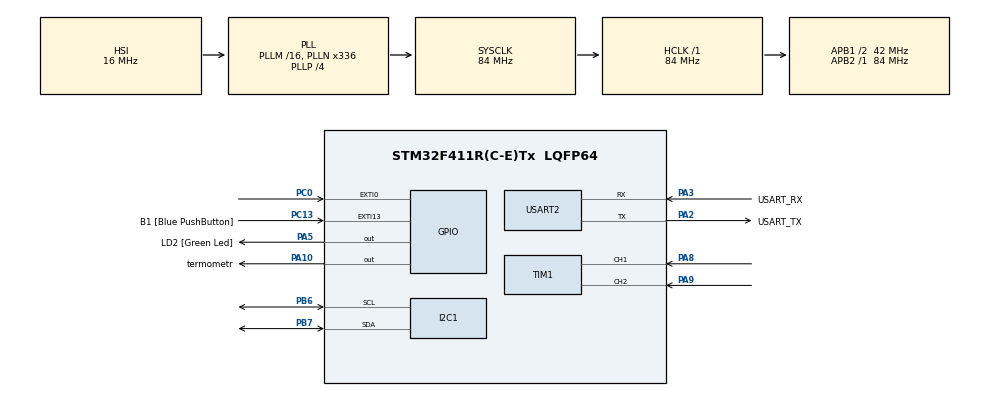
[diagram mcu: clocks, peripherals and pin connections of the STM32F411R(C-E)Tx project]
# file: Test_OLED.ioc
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Mcu.Family=STM32F4
Mcu.Name=STM32F411R(C-E)Tx
Mcu.Package=LQFP64
NVIC.EXTI0_IRQn=true\:0\:0\:false\:false\:true\:true\:true\:true
NVIC.EXTI15_10_IRQn=true\:0\:0\:false\:false\:true\:true\:true\:true
NVIC.PriorityGroup=NVIC_PRIORITYGROUP_0
PA10.GPIO_Label=termometr
PA10.GPIO_ModeDefaultOutputPP=GPIO_MODE_OUTPUT_OD
PA10.GPIO_PuPd=GPIO_NOPULL
PA10.Signal=GPIO_Output
PA13.GPIO_Label=TMS
PA13.Mode=Serial_Wire
PA13.Signal=SYS_JTMS-SWDIO
PA14.GPIO_Label=TCK
PA14.Mode=Serial_Wire
PA14.Signal=SYS_JTCK-SWCLK
PA2.GPIO_Label=USART_TX
PA2.Mode=Asynchronous
PA2.Signal=USART2_TX
PA3.GPIO_Label=USART_RX
PA3.Mode=Asynchronous
PA3.Signal=USART2_RX
PA5.GPIO_Label=LD2 [Green Led]
PA5.Signal=GPIO_Output
PA8.Signal=S_TIM1_CH1
PA9.Signal=S_TIM1_CH2
PB3.GPIO_Label=SWO
PB3.Signal=SYS_JTDO-SWO
PB6.GPIO_Pu=GPIO_PULLUP
PB6.Mode=I2C
PB6.Signal=I2C1_SCL
PB7.GPIO_Pu=GPIO_PULLUP
PB7.Mode=I2C
PB7.Signal=I2C1_SDA
PC0.GPIO_ModeDefaultEXTI=GPIO_MODE_IT_FALLING
PC0.GPIO_PuPd=GPIO_PULLUP
PC0.Signal=GPXTI0
PC13-ANTI_TAMP.GPIO_Label=B1 [Blue PushButton]
PC13-ANTI_TAMP.GPIO_ModeDefaultEXTI=GPIO_MODE_IT_FALLING
PC13-ANTI_TAMP.Signal=GPXTI13
PC14-OSC32_IN.Mode=LSE-External-Oscillator
PC14-OSC32_IN.Signal=RCC_OSC32_IN
PC15-OSC32_OUT.Mode=LSE-External-Oscillator
PC15-OSC32_OUT.Signal=RCC_OSC32_OUT
PH0\ -\ OSC_IN.Mode=HSE-External-Clock-Source
PH0\ -\ OSC_IN.Signal=RCC_OSC_IN
PH1\ -\ OSC_OUT.Mode=HSE-External-Clock-Source
PH1\ -\ OSC_OUT.Signal=RCC_OSC_OUT
ProjectManager.HeapSize=0x200
ProjectManager.StackSize=0x400
ProjectManager.TargetToolchain=STM32CubeIDE
RCC.48MHZClocksFreq_Value=84000000
RCC.AHBFreq_Value=84000000
RCC.APB1CLKDivider=RCC_HCLK_DIV2
RCC.APB1Freq_Value=42000000
RCC.APB1TimFreq_Value=84000000
RCC.APB2Freq_Value=84000000
RCC.APB2TimFreq_Value=84000000
RCC.CortexFreq_Value=84000000
RCC.FLatency-AdvancedSettings=FLASH_LATENCY_2
RCC.HCLKFreq_Value=84000000
RCC.HSE_VALUE=8000000
RCC.HSI_VALUE=16000000
RCC.PLLN=336
RCC.PLLP=RCC_PLLP_DIV4
RCC.SYSCLKFreq_VALUE=84000000
RCC.SYSCLKSource=RCC_SYSCLKSOURCE_PLLCLK
RCC.VCOOutputFreq_Value=336000000
SH.S_TIM1_CH1.0=TIM1_CH1,Encoder_Interface
SH.S_TIM1_CH2.0=TIM1_CH2,Encoder_Interface
TIM1.EncoderMode=TIM_ENCODERMODE_TI12
TIM1.IC1Filter=15
TIM1.TIM_MasterOutputTrigger=TIM_TRGO_UPDATE
TIM3.Prescaler=7
USART2.VirtualMode=VM_ASYNC
VP_TIM3_VS_ClockSourceINT.Mode=Internal
board=NUCLEO-F411RE

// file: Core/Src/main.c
/* USER CODE BEGIN Header */
/**
  ******************************************************************************
  * @file           : main.c
  * @brief          : Main program body
  ******************************************************************************
  * @attention
  *
  * Copyright (c) 2024 STMicroelectronics.
  * All rights reserved.
  *
  * This software is licensed under terms that can be found in the LICENSE file
  * in the root directory of this software component.
  * If no LICENSE file comes with this software, it is provided AS-IS.
  *
  ******************************************************************************
  */
/* USER CODE END Header */
#include "main.h"
#include "i2c.h"
#include "tim.h"
#include "usart.h"
#include "gpio.h"

/* USER CODE BEGIN Includes */
#include "menu.h"
#include "termostat.h"
#include "ds18b20.h"
/* USER CODE END Includes */

void SystemClock_Config(void);

/* USER CODE BEGIN 0 */
DS18b20_Typedef termo;
termostat_Typedef htermostat;
menu_Typedef oled;
/* USER CODE END 0 */

uint32_t tick;
int main(void)
{

  /* MCU Configuration--------------------------------------------------------*/

  /* Reset of all peripherals, Initializes the Flash interface and the Systick. */
  HAL_Init();

  /* USER CODE BEGIN Init */
  htermostat.temp.tempMin = 19;
  htermostat.temp.tempMax = 23;
  htermostat.temp.userTemp = htermostat.temp.tempMin;
  termo.DS18b20_Pin = termomet_Pin;
  termo.DS18b20_Port = termomet_GPIO_Port;
  termo.htim = htim3;

  /* USER CODE END Init */

  /* Configure the system clock */
  SystemClock_Config();

  /* Initialize all configured peripherals */
  MX_GPIO_Init();
  MX_USART2_UART_Init();
  MX_I2C1_Init();
  MX_TIM1_Init();
  MX_TIM3_Init();
  /* USER CODE BEGIN 2 */
  HAL_TIM_Base_Start(&htim3);
   oled = menu_Init(GPIO_PIN_0,&htim1);
   DS18b20_Start(&termo);
   //htermostat = termostat_Init();
  HAL_Delay(1);
  HAL_TIM_Base_Start(&htim1);

  /* USER CODE END 2 */

  /* Infinite loop */
  while (1)
  {

    /* USER CODE BEGIN 3 */

	  if(HAL_GetTick()>1000)
	  {

		  menu_displayCurrentMenu(&oled);
		  tick=HAL_GetTick();
	  }

  }
  /* USER CODE END 3 */
}

void SystemClock_Config(void)
{
  RCC_OscInitTypeDef RCC_OscInitStruct = {0};
  RCC_ClkInitTypeDef RCC_ClkInitStruct = {0};

  /** Configure the main internal regulator output voltage
  */
  __HAL_RCC_PWR_CLK_ENABLE();
  __HAL_PWR_VOLTAGESCALING_CONFIG(PWR_REGULATOR_VOLTAGE_SCALE1);

  /** Initializes the RCC Oscillators according to the specified parameters
  * in the RCC_OscInitTypeDef structure.
  */
  RCC_OscInitStruct.OscillatorType = RCC_OSCILLATORTYPE_HSI;
  RCC_OscInitStruct.HSIState = RCC_HSI_ON;
  RCC_OscInitStruct.HSICalibrationValue = RCC_HSICALIBRATION_DEFAULT;
  RCC_OscInitStruct.PLL.PLLState = RCC_PLL_ON;
  RCC_OscInitStruct.PLL.PLLSource = RCC_PLLSOURCE_HSI;
  RCC_OscInitStruct.PLL.PLLM = 16;
  RCC_OscInitStruct.PLL.PLLN = 336;
  RCC_OscInitStruct.PLL.PLLP = RCC_PLLP_DIV4;
  RCC_OscInitStruct.PLL.PLLQ = 4;
  if (HAL_RCC_OscConfig(&RCC_OscInitStruct) != HAL_OK)
  {
    Error_Handler();
  }

  /** Initializes the CPU, AHB and APB buses clocks
  */
  RCC_ClkInitStruct.ClockType = RCC_CLOCKTYPE_HCLK|RCC_CLOCKTYPE_SYSCLK
                              |RCC_CLOCKTYPE_PCLK1|RCC_CLOCKTYPE_PCLK2;
  RCC_ClkInitStruct.SYSCLKSource = RCC_SYSCLKSOURCE_PLLCLK;
  RCC_ClkInitStruct.AHBCLKDivider = RCC_SYSCLK_DIV1;
  RCC_ClkInitStruct.APB1CLKDivider = RCC_HCLK_DIV2;
  RCC_ClkInitStruct.APB2CLKDivider = RCC_HCLK_DIV1;

  if (HAL_RCC_ClockConfig(&RCC_ClkInitStruct, FLASH_LATENCY_2) != HAL_OK)
  {
    Error_Handler();
  }
}

/* USER CODE BEGIN 4 */
void HAL_GPIO_EXTI_Callback(uint16_t GPIO_Pin)
{
  if(oled.hardwareConfig.button_pin == GPIO_Pin)
  {

    menu_process_IRQ(&oled);
  }
}
/* USER CODE END 4 */

void Error_Handler(void)
{
  __disable_irq();
  while (1)
  {
  }
}
